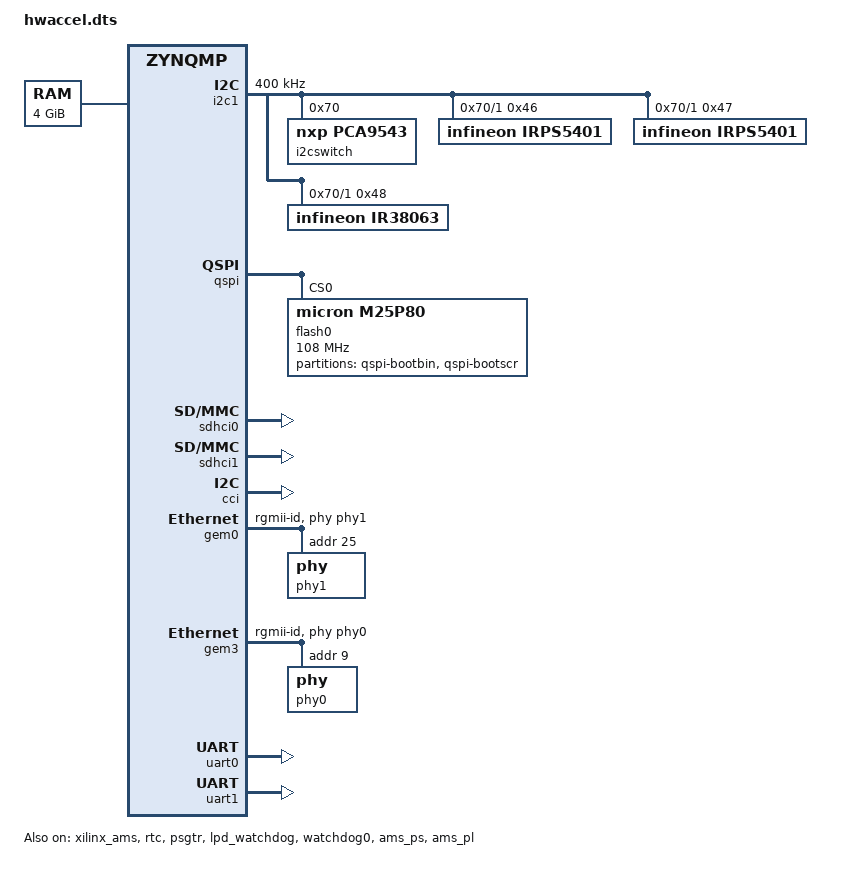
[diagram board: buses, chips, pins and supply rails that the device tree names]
/dts-v1/;
#include "zynqmp.dtsi"
#include "zynqmp-clk-ccf.dtsi"

/* <psgtr_phandle> <lane_number> <controller_type> <instance> <refclk> */
    
/ {
	chosen {
		bootargs = "console=/dev/ttyPS1,115200 root=/dev/mmcblk1p2 rw earlyprintk earlycon clk_ignore_unused";
		stdout-path = "serial1:115200n8";
	};
	aliases {
		ethernet0 = &gem3;
		ethernet1 = &gem0;
		serial0 = &uart0;
		serial1 = &uart1;
	};
	memory {
		device_type = "memory";
		reg = <0x0 0x0 0x0 0x7ff00000>, <0x00000008 0x00000000 0x0 0x80000000>;
	};

	amba_pl: amba_pl@0 {
		#address-cells = <2>;
		#size-cells = <2>;
		compatible = "simple-bus";
		ranges ;
	misc_clk_0: misc_clk_0 {
		#clock-cells = <0>;
		clock-frequency = <299997000>;
		compatible = "fixed-clock";
	};
    	hwaccel0: hwaccel@80000000 {
	     compatible = "hwaccel-1.0";
             clock-names = "axi_lite_aclk";
	     clocks = <&misc_clk_0>, <&misc_clk_0>;
	     reg = <0x0 0x80000000 0x0 0x10000>;
	     hwaccel_number = <0>;
       };
    }; // amba_pl
};

&gpio {
	status = "okay";
};

&i2c1 {
   i2cswitch@70 { /* U7 on UZ3EG SOM, U8 on UZ7EV SOM */
      compatible = "nxp,pca9543";
      #address-cells = <1>;
      #size-cells = <0>;
      reg = <0x70>;
      i2c@0 { /* i2c mw 70 0 1 */
         #address-cells = <1>;
         #size-cells = <0>;
         reg = <0>;
      };

      i2c@1 {
         #address-cells = <0x1>;
         #size-cells = <0x0>;
         reg = <0x1>;

         irps5401@46 { /* IRPS5401 - U24 on UZ7EV SOM*/
            compatible = "infineon,irps5401";
            reg = <0x46>;
         };

         irps5401@47 { /* IRPS5401 - U25 on UZ7EV SOM*/
            compatible = "infineon,irps5401";
            reg = <0x47>;
         };

         ir38063@48 { /* IR38063 - U26 on UZ7EV SOM*/
            compatible = "infineon,ir38063";
            reg = <0x48>;
         };
      };
   };
};

&qspi {
   #address-cells = <1>;
   #size-cells = <0>;
   status = "okay";
   is-dual = <1>; /* Set for dual-parallel QSPI config */
   num-cs = <2>;
   xlnx,fb-clk = <0x1>;
   flash0: flash@0 {
      /* The Flash described below doesn't match our board ("micron,n25qu256a"), but is needed */
      /* so the Flash MTD partitions are correctly identified in /proc/mtd */
      compatible = "micron,m25p80","jedec,spi-nor"; /* 32MB */
      #address-cells = <1>;
      #size-cells = <1>;
      reg = <0x0>;
      spi-tx-bus-width = <1>;
      spi-rx-bus-width = <4>; /* FIXME also DUAL configuration possible */
      spi-max-frequency = <108000000>; /* Set to 108000000 Based on DC1 spec */
      /* MTD Partitioning:
       *   Boot.bin needs at least 20MB
       *   boot.scr must go at 0x3E80000
       */
      partition@qspi-bootbin {
	      label = "qspi-bootbin";
	      reg = <0x0 0x2000000>;
      };
      partition@qspi-bootscr {
	      label = "qspi-bootscr";
	      reg = <0x3E80000 0x80000>;
      };
   };
};

&sdhci0 {
	clock-frequency = <199998001>;
	status = "okay";
	xlnx,mio_bank = <0x0>;
	nvmem-cells = <&soc_revision>;
	nvmem-cell-names = "soc_revision";
	#clock-cells = <1>;
	clock-output-names = "clk_out_sd0", "clk_in_sd0";
};
&sdhci1 {
	clock-frequency = <199998001>;
	status = "okay";
	disable-wp;
	no-1-8-v;
	xlnx,mio_bank = <0x1>;
	nvmem-cells = <&soc_revision>;
	nvmem-cell-names = "soc_revision";
	#clock-cells = <1>;
	clock-output-names = "clk_out_sd1", "clk_in_sd1";
};

&gic {
	num_cpus = <2>;
	num_interrupts = <96>;
};
&lpd_dma_chan1 {
	status = "okay";
};
&lpd_dma_chan2 {
	status = "okay";
};
&lpd_dma_chan3 {
	status = "okay";
};
&lpd_dma_chan4 {
	status = "okay";
};
&lpd_dma_chan5 {
	status = "okay";
};
&lpd_dma_chan6 {
	status = "okay";
};
&lpd_dma_chan7 {
	status = "okay";
};
&lpd_dma_chan8 {
	status = "okay";
};
&xilinx_ams {
	status = "okay";
};
&cci {
	status = "okay";
};
&fpd_dma_chan1 {
	status = "okay";
};
&fpd_dma_chan2 {
	status = "okay";
};
&fpd_dma_chan3 {
	status = "okay";
};
&fpd_dma_chan4 {
	status = "okay";
};
&fpd_dma_chan5 {
	status = "okay";
};
&fpd_dma_chan6 {
	status = "okay";
};
&fpd_dma_chan7 {
	status = "okay";
};
&fpd_dma_chan8 {
	status = "okay";
};
&gem0{
	status = "okay";
	local-mac-address = [00 0a 35 00 00 AA];
	phy-mode = "rgmii-id";
	xlnx,ptp-enet-clock = <0x0>;
	phy-handle = <&phy1>;
	phy1: phy@19 {
		reg = <0x19>;
		ti,rx-internal-delay = <0x5>;
		ti,tx-internal-delay = <0x5>;
		ti,fifo-depth = <0x1>;
		ti,dp83867-rxctrl-strap-quirk;
	};
};

&gem3 {
	status = "okay";
	local-mac-address = [00 0a 35 00 00 BB];
	phy-mode = "rgmii-id";
	phy-handle = <&phy0>;
	phy0: phy@9 {
		reg = <0x9>;
		ti,rx-internal-delay = <0x5>;
		ti,tx-internal-delay = <0x5>;
		ti,fifo-depth = <0x1>;
		ti,dp83867-rxctrl-strap-quirk;
	};
};

&i2c1 {
	clock-frequency = <400000>;
	status = "okay";
};
&qspi {
	is-dual = <1>;
	num-cs = <1>;
	spi-rx-bus-width = <4>;
	spi-tx-bus-width = <4>;
	status = "okay";
};
&rtc {
	status = "okay";
};
&sdhci0 {
	clock-frequency = <199998001>;
	status = "okay";
	xlnx,mio-bank = <0x0>;
};
&sdhci1 {
	clock-frequency = <199998001>;
	status = "okay";
	xlnx,mio-bank = <0x1>;
};
&psgtr {
	status = "okay";
};
&uart0 {
	cts-override ;
	device_type = "serial";
	port-number = <0>;
	status = "okay";
	u-boot,dm-pre-reloc ;
};
&uart1 {
	cts-override ;
	device_type = "serial";
	port-number = <1>;
	status = "okay";
	u-boot,dm-pre-reloc ;
};
&lpd_watchdog {
	status = "okay";
};
&watchdog0 {
	status = "okay";
};
&ams_ps {
	status = "okay";
};
&ams_pl {
	status = "okay";
};
